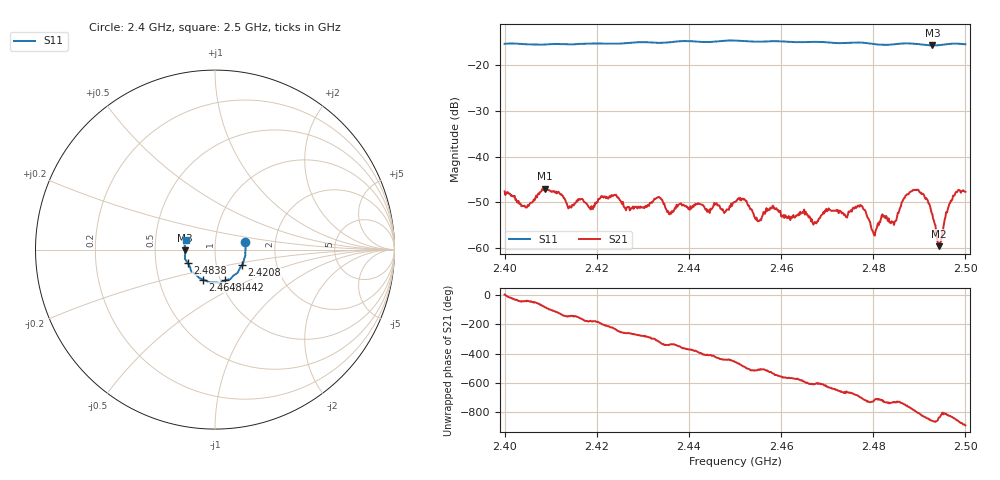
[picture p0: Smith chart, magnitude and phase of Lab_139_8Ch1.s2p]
# Hz S RI R 50
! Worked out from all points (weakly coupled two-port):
!   601 points, 2.4 GHz to 2.5 GHz, reference 50 ohm
!   highest |S21| = -47.05 dB at 2.4087 GHz (marker M1); lowest = -59.6 dB at 2.4942 GHz (marker M2)
!   lowest |S11| = -15.6 dB at 2.4928 GHz (marker M3), VSWR 1.40, Z = 35.8 - j0.354 ohm
!   |S11| at or under -10 dB: start of sweep to end of sweep
!   S12 and S22 are empty: the file has one direction only
!   S11 on the Smith chart (normalised r, x): 2.4 GHz: 1.40, +0.12; 2.4208 GHz: 1.33, -0.24; 2.4442 GHz: 1.05, -0.37; 2.4648 GHz: 0.83, -0.29; 2.4838 GHz: 0.73, -0.11; 2.5 GHz: 0.72, +0.08
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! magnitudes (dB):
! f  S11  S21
! 2.4 GHz  -15.2  -47.6
! 2.4047 GHz  -15.4  -51.1
! 2.4087 GHz  -15.4  -47.0
! 2.4167 GHz  -15.2  -49.3
! 2.4208 GHz  -15.2  -48.9
! 2.4277 GHz  -15.0  -51.3
! 2.4333 GHz  -15.0  -48.9
! 2.4357 GHz  -14.9  -52.6
! 2.4442 GHz  -14.9  -51.8
! 2.45 GHz  -14.5  -49.9
! 2.455 GHz  -14.8  -54.2
! 2.4648 GHz  -14.9  -52.3
! 2.4667 GHz  -14.8  -53.7
! 2.477 GHz  -15.0  -51.0
! 2.48 GHz  -15.3  -56.6
! 2.4833 GHz  -15.5  -53.5
! 2.4838 GHz  -15.4  -54.6
! 2.4892 GHz  -15.2  -47.3
! 2.4928 GHz  -15.6  -52.6
! 2.4942 GHz  -15.6  -59.6
! 2.497 GHz  -15.2  -49.6
! 2.5 GHz  -15.4  -47.7
